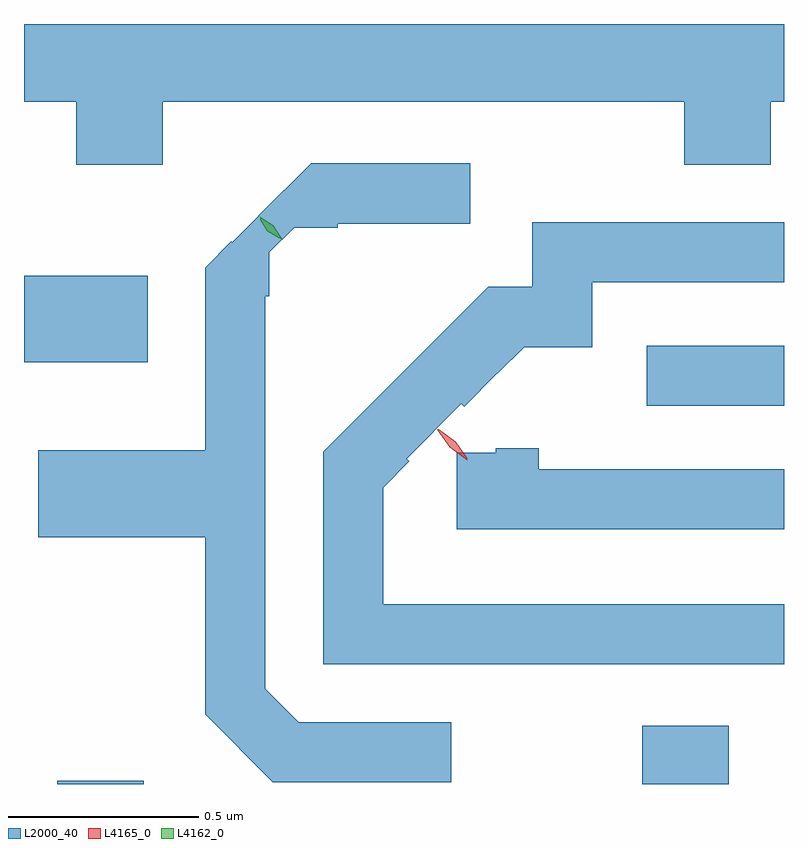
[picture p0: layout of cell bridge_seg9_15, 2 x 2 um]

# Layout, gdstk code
import gdstk
lib = gdstk.Library(unit=1e-6, precision=1e-09)
def R(c, l, rs):  # rectangles x0, y0, x1, y1
    for r in rs: c.add(gdstk.rectangle(r[:2], r[2:], *l))
def P(c, l, *ps):  # polygons
    for p in ps: c.add(gdstk.Polygon(p, *l))
L2000_40 = (2000, 40)
L4162_0 = (4162, 0)
L4165_0 = (4165, 0)

bridge_seg9_15 = lib.new_cell('bridge_seg9_15')
R(bridge_seg9_15, L2000_40, [(1906.021,2016.661,1906.249,2016.669), (1907.561,2016.661,1907.789,2016.814), (1907.573,2017.656,1907.934,2017.814), (1905.934,2017.771,1906.259,2017.999)])
P(bridge_seg9_15, L2000_40, [(1906.299,2018.456),(1907.671,2018.456),(1907.671,2018.291),(1907.899,2018.291),(1907.899,2018.456),(1907.934,2018.456),(1907.934,2018.661),(1905.934,2018.661),(1905.934,2018.456),(1906.071,2018.456),(1906.071,2018.291),(1906.299,2018.291)],
  [(1907.058,2016.824),(1906.657,2016.824),(1906.569,2016.912),(1906.569,2017.945),(1906.58,2017.945),(1906.58,2018.06),(1906.645,2018.125),(1906.76,2018.125),(1906.76,2018.136),(1907.108,2018.136),(1907.108,2018.294),(1906.69,2018.294),(1906.619,2018.223),(1906.618,2018.224),(1906.482,2018.087),(1906.48,2018.089),(1906.411,2018.02),(1906.411,2017.539),(1905.971,2017.539),(1905.971,2017.311),(1906.411,2017.311),(1906.411,2016.844),(1906.589,2016.666),(1907.058,2016.666)],
  [(1907.934,2017.134),(1906.879,2017.134),(1906.879,2017.441),(1906.948,2017.51),(1906.941,2017.517),(1907.085,2017.662),(1907.092,2017.654),(1907.18,2017.742),(1907.181,2017.742),(1907.251,2017.811),(1907.429,2017.811),(1907.429,2017.981),(1907.934,2017.981),(1907.934,2018.139),(1907.271,2018.139),(1907.271,2017.969),(1907.156,2017.969),(1906.721,2017.535),(1906.721,2016.976),(1907.934,2016.976)],
  [(1907.934,2017.489),(1907.289,2017.489),(1907.289,2017.544),(1907.175,2017.544),(1907.175,2017.533),(1907.073,2017.533),(1907.073,2017.331),(1907.934,2017.331)])
P(bridge_seg9_15, L4162_0, [(1906.612,2018.094),(1906.576,2018.117),(1906.554,2018.154),(1906.554,2018.154),(1906.555,2018.154),(1906.59,2018.131),(1906.613,2018.094),(1906.613,2018.094)],
  [(1906.606,2018.097),(1906.574,2018.115),(1906.556,2018.146),(1906.556,2018.147),(1906.557,2018.147),(1906.588,2018.129),(1906.606,2018.097),(1906.606,2018.097)])
P(bridge_seg9_15, L4165_0, [(1907.1,2017.513),(1907.054,2017.547),(1907.021,2017.593),(1907.021,2017.594),(1907.022,2017.594),(1907.068,2017.56),(1907.1,2017.514),(1907.1,2017.513)],
  [(1907.1,2017.517),(1907.055,2017.548),(1907.024,2017.593),(1907.024,2017.594),(1907.025,2017.594),(1907.07,2017.562),(1907.1,2017.518),(1907.1,2017.517)])

lib.write_gds('bridge_seg9_15.gds')
